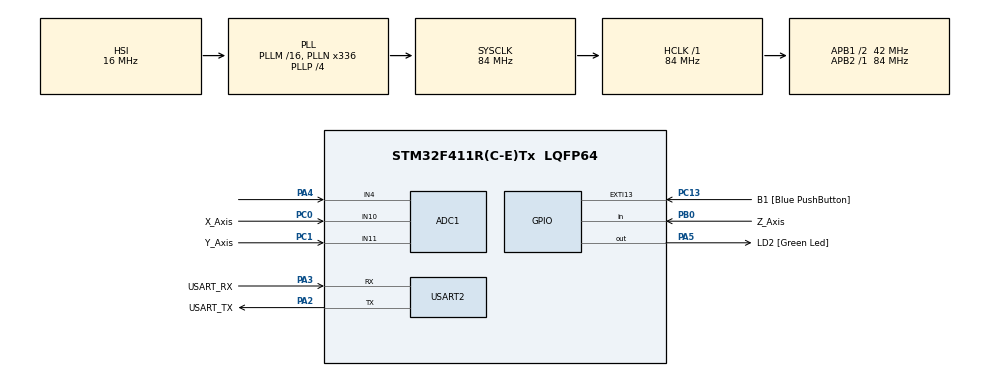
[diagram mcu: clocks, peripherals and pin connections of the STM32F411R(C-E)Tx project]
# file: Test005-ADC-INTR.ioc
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ADC1.Channel-0\#ChannelRegularConversion=ADC_CHANNEL_10
ADC1.Channel-1\#ChannelRegularConversion=ADC_CHANNEL_11
ADC1.Channel-2\#ChannelRegularConversion=ADC_CHANNEL_4
ADC1.DiscontinuousConvMode=ENABLE
ADC1.NbrOfConversion=3
ADC1.NbrOfConversionFlag=1
ADC1.Rank-0\#ChannelRegularConversion=1
ADC1.Rank-1\#ChannelRegularConversion=2
ADC1.Rank-2\#ChannelRegularConversion=3
ADC1.SamplingTime-0\#ChannelRegularConversion=ADC_SAMPLETIME_3CYCLES
ADC1.SamplingTime-1\#ChannelRegularConversion=ADC_SAMPLETIME_3CYCLES
ADC1.SamplingTime-2\#ChannelRegularConversion=ADC_SAMPLETIME_3CYCLES
ADC1.ScanConvMode=ENABLE
ADC1.master=1
Mcu.Family=STM32F4
Mcu.Name=STM32F411R(C-E)Tx
Mcu.Package=LQFP64
NVIC.ADC_IRQn=true\:0\:0\:false\:false\:true\:true\:true\:true
NVIC.PriorityGroup=NVIC_PRIORITYGROUP_0
NVIC.TIM3_IRQn=true\:0\:0\:false\:false\:true\:true\:true\:true
PA13.GPIO_Label=TMS
PA13.Mode=Serial_Wire
PA13.Signal=SYS_JTMS-SWDIO
PA14.GPIO_Label=TCK
PA14.Mode=Serial_Wire
PA14.Signal=SYS_JTCK-SWCLK
PA2.GPIO_Label=USART_TX
PA2.Mode=Asynchronous
PA2.Signal=USART2_TX
PA3.GPIO_Label=USART_RX
PA3.Mode=Asynchronous
PA3.Signal=USART2_RX
PA4.Signal=ADCx_IN4
PA5.GPIO_Label=LD2 [Green Led]
PA5.Signal=GPIO_Output
PB0.GPIO_Label=Z_Axis
PB0.GPIO_PuPd=GPIO_PULLUP
PB0.Signal=GPIO_Input
PB3.GPIO_Label=SWO
PB3.Signal=SYS_JTDO-SWO
PC0.GPIO_Label=X_Axis
PC0.Signal=ADCx_IN10
PC1.GPIO_Label=Y_Axis
PC1.Signal=ADCx_IN11
PC13-ANTI_TAMP.GPIO_Label=B1 [Blue PushButton]
PC13-ANTI_TAMP.GPIO_ModeDefaultEXTI=GPIO_MODE_IT_FALLING
PC13-ANTI_TAMP.Signal=GPXTI13
PC14-OSC32_IN.Mode=LSE-External-Oscillator
PC14-OSC32_IN.Signal=RCC_OSC32_IN
PC15-OSC32_OUT.Mode=LSE-External-Oscillator
PC15-OSC32_OUT.Signal=RCC_OSC32_OUT
PH0\ -\ OSC_IN.Mode=HSE-External-Clock-Source
PH0\ -\ OSC_IN.Signal=RCC_OSC_IN
PH1\ -\ OSC_OUT.Mode=HSE-External-Clock-Source
PH1\ -\ OSC_OUT.Signal=RCC_OSC_OUT
ProjectManager.HeapSize=0x200
ProjectManager.StackSize=0x400
ProjectManager.TargetToolchain=STM32CubeIDE
RCC.48MHZClocksFreq_Value=84000000
RCC.AHBFreq_Value=84000000
RCC.APB1CLKDivider=RCC_HCLK_DIV2
RCC.APB1Freq_Value=42000000
RCC.APB1TimFreq_Value=84000000
RCC.APB2Freq_Value=84000000
RCC.APB2TimFreq_Value=84000000
RCC.CortexFreq_Value=84000000
RCC.FLatency-AdvancedSettings=FLASH_LATENCY_2
RCC.HCLKFreq_Value=84000000
RCC.HSE_VALUE=8000000
RCC.HSI_VALUE=16000000
RCC.PLLN=336
RCC.PLLP=RCC_PLLP_DIV4
RCC.SYSCLKFreq_VALUE=84000000
RCC.SYSCLKSource=RCC_SYSCLKSOURCE_PLLCLK
RCC.VCOOutputFreq_Value=336000000
SH.ADCx_IN10.0=ADC1_IN10,IN10
SH.ADCx_IN11.0=ADC1_IN11,IN11
SH.ADCx_IN4.0=ADC1_IN4,IN4
TIM3.Period=2000-1
TIM3.Prescaler=8400-1
USART2.VirtualMode=VM_ASYNC
VP_TIM3_VS_ClockSourceINT.Mode=Internal
board=NUCLEO-F411RE

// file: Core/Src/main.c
/* USER CODE BEGIN Header */
/**
  ******************************************************************************
  * @file           : main.c
  * @brief          : Main program body
  ******************************************************************************
  * @attention
  *
  * Copyright (c) 2024 STMicroelectronics.
  * All rights reserved.
  *
  * This software is licensed under terms that can be found in the LICENSE file
  * in the root directory of this software component.
  * If no LICENSE file comes with this software, it is provided AS-IS.
  *
  ******************************************************************************
  */
/* USER CODE END Header */
#include "main.h"

ADC_HandleTypeDef hadc1;

TIM_HandleTypeDef htim3;

UART_HandleTypeDef huart2;

void SystemClock_Config(void);
static void MX_GPIO_Init(void);
static void MX_USART2_UART_Init(void);
static void MX_ADC1_Init(void);
static void MX_TIM3_Init(void);

/* USER CODE BEGIN 0 */
int cx=39,cy=12;  // initial position
int v0[3], v1[3], x, y, l, idx = 0;
void HAL_ADC_ConvCpltCallback(ADC_HandleTypeDef *hadc)
{
	//HAL_ADC_Start(&hadc1);
	//HAL_ADC_PollForConversion(&hadc1, 1000); // start Trigger
	v1[idx] = HAL_ADC_GetValue(&hadc1);
	v0[idx] = (v1[idx] / 1400) - 1;
	switch(idx)
	{
	case 0: //x
		x = cx + v0[idx];
		x = (x > 78) ? 78 : (x < 0) ? 0 : x;
		break;
	case 1: //y
		y = cy + v0[idx];
		y = (y > 23) ? 23 : (y < 0) ? 0 : y;
		break;
	}
	//printf("ADC value : %d\r\n", v);
	//HAL_Delay(200);
	if(++idx == 3) idx = 0;
}

void HAL_TIM_PeriodElapsedCallback(TIM_HandleTypeDef *htim)
{
	HAL_ADC_Start_IT(&hadc1);
}

int xa[100],ya[100];
void MakeItem()
{
	int i;
	srand(htim3.Instance->CNT);
	for(i=0;i<100;i++)
	{
		int v1 =  rand();  //0 ~ 2,147,483,647
		int v2 =  rand();
		xa[i] = (((double)v1 / 2147483647.)) * 80;
		ya[i] = (((double)v2 / 2147483647.)) * 24;
		printf("\033[%d;%dHo",ya[i], xa[i]);
	}
	printf("\n");
}

/* USER CODE END 0 */

int main(void)
{

  /* MCU Configuration--------------------------------------------------------*/

  /* Reset of all peripherals, Initializes the Flash interface and the Systick. */
  HAL_Init();

  /* Configure the system clock */
  SystemClock_Config();

  /* Initialize all configured peripherals */
  MX_GPIO_Init();
  MX_USART2_UART_Init();
  MX_ADC1_Init();
  MX_TIM3_Init();
  /* USER CODE BEGIN 2 */
  HAL_TIM_Base_Start_IT(&htim3);
  //HAL_ADC_Start_IT(&hadc1);
  ProgramStart("ADC - Interrupt ");
  printf("\033[2J\033[?25l\n");  // Clear screen & cursor invisible
  MakeItem();
  /* USER CODE END 2 */

  /* Infinite loop */
  /* USER CODE BEGIN WHILE */
  int dx=0,dy=0;
  while (1)
  {
	//printf("Current ADC value (%d, %d) : %d\r\n", x, y, l);
	int z = HAL_GPIO_ReadPin(Z_Axis_GPIO_Port, Z_Axis_Pin);
	x = cx + dx, y = cy + dy;
	printf("\033[0;0HCP(%d,%d,%d),NP(%d,%d),DP(%d,%d)", cx,cy,z,x,y,dx,dy);  // location info
	printf("\033[%d;%dH \033[%d;%dH@\033[A\n", cy, cx, y, x);
	dx = (-1)*((x < cx)?1:(x > cx)?-1:0);
	dy = (-1)*((y < cy)?1:(y > cy)?-1:0);
	cx = x; cy = y;  //save current pos
	HAL_Delay(100);
    /* USER CODE END WHILE */

  }
}

void SystemClock_Config(void)
{
  RCC_OscInitTypeDef RCC_OscInitStruct = {0};
  RCC_ClkInitTypeDef RCC_ClkInitStruct = {0};

  /** Configure the main internal regulator output voltage
  */
  __HAL_RCC_PWR_CLK_ENABLE();
  __HAL_PWR_VOLTAGESCALING_CONFIG(PWR_REGULATOR_VOLTAGE_SCALE1);

  /** Initializes the RCC Oscillators according to the specified parameters
  * in the RCC_OscInitTypeDef structure.
  */
  RCC_OscInitStruct.OscillatorType = RCC_OSCILLATORTYPE_HSI;
  RCC_OscInitStruct.HSIState = RCC_HSI_ON;
  RCC_OscInitStruct.HSICalibrationValue = RCC_HSICALIBRATION_DEFAULT;
  RCC_OscInitStruct.PLL.PLLState = RCC_PLL_ON;
  RCC_OscInitStruct.PLL.PLLSource = RCC_PLLSOURCE_HSI;
  RCC_OscInitStruct.PLL.PLLM = 16;
  RCC_OscInitStruct.PLL.PLLN = 336;
  RCC_OscInitStruct.PLL.PLLP = RCC_PLLP_DIV4;
  RCC_OscInitStruct.PLL.PLLQ = 4;
  if (HAL_RCC_OscConfig(&RCC_OscInitStruct) != HAL_OK)
  {
    Error_Handler();
  }

  /** Initializes the CPU, AHB and APB buses clocks
  */
  RCC_ClkInitStruct.ClockType = RCC_CLOCKTYPE_HCLK|RCC_CLOCKTYPE_SYSCLK
                              |RCC_CLOCKTYPE_PCLK1|RCC_CLOCKTYPE_PCLK2;
  RCC_ClkInitStruct.SYSCLKSource = RCC_SYSCLKSOURCE_PLLCLK;
  RCC_ClkInitStruct.AHBCLKDivider = RCC_SYSCLK_DIV1;
  RCC_ClkInitStruct.APB1CLKDivider = RCC_HCLK_DIV2;
  RCC_ClkInitStruct.APB2CLKDivider = RCC_HCLK_DIV1;

  if (HAL_RCC_ClockConfig(&RCC_ClkInitStruct, FLASH_LATENCY_2) != HAL_OK)
  {
    Error_Handler();
  }
}

static void MX_ADC1_Init(void)
{

  ADC_ChannelConfTypeDef sConfig = {0};

  /** Configure the global features of the ADC (Clock, Resolution, Data Alignment and number of conversion)
  */
  hadc1.Instance = ADC1;
  hadc1.Init.ClockPrescaler = ADC_CLOCK_SYNC_PCLK_DIV4;
  hadc1.Init.Resolution = ADC_RESOLUTION_12B;
  hadc1.Init.ScanConvMode = ENABLE;
  hadc1.Init.ContinuousConvMode = DISABLE;
  hadc1.Init.DiscontinuousConvMode = ENABLE;
  hadc1.Init.NbrOfDiscConversion = 1;
  hadc1.Init.ExternalTrigConvEdge = ADC_EXTERNALTRIGCONVEDGE_NONE;
  hadc1.Init.ExternalTrigConv = ADC_SOFTWARE_START;
  hadc1.Init.DataAlign = ADC_DATAALIGN_RIGHT;
  hadc1.Init.NbrOfConversion = 3;
  hadc1.Init.DMAContinuousRequests = DISABLE;
  hadc1.Init.EOCSelection = ADC_EOC_SINGLE_CONV;
  if (HAL_ADC_Init(&hadc1) != HAL_OK)
  {
    Error_Handler();
  }

  /** Configure for the selected ADC regular channel its corresponding rank in the sequencer and its sample time.
  */
  sConfig.Channel = ADC_CHANNEL_10;
  sConfig.Rank = 1;
  sConfig.SamplingTime = ADC_SAMPLETIME_3CYCLES;
  if (HAL_ADC_ConfigChannel(&hadc1, &sConfig) != HAL_OK)
  {
    Error_Handler();
  }

  /** Configure for the selected ADC regular channel its corresponding rank in the sequencer and its sample time.
  */
  sConfig.Channel = ADC_CHANNEL_11;
  sConfig.Rank = 2;
  if (HAL_ADC_ConfigChannel(&hadc1, &sConfig) != HAL_OK)
  {
    Error_Handler();
  }

  /** Configure for the selected ADC regular channel its corresponding rank in the sequencer and its sample time.
  */
  sConfig.Channel = ADC_CHANNEL_4;
  sConfig.Rank = 3;
  if (HAL_ADC_ConfigChannel(&hadc1, &sConfig) != HAL_OK)
  {
    Error_Handler();
  }

}

static void MX_TIM3_Init(void)
{

  TIM_ClockConfigTypeDef sClockSourceConfig = {0};
  TIM_MasterConfigTypeDef sMasterConfig = {0};

  htim3.Instance = TIM3;
  htim3.Init.Prescaler = 8400-1;
  htim3.Init.CounterMode = TIM_COUNTERMODE_UP;
  htim3.Init.Period = 2000-1;
  htim3.Init.ClockDivision = TIM_CLOCKDIVISION_DIV1;
  htim3.Init.AutoReloadPreload = TIM_AUTORELOAD_PRELOAD_DISABLE;
  if (HAL_TIM_Base_Init(&htim3) != HAL_OK)
  {
    Error_Handler();
  }
  sClockSourceConfig.ClockSource = TIM_CLOCKSOURCE_INTERNAL;
  if (HAL_TIM_ConfigClockSource(&htim3, &sClockSourceConfig) != HAL_OK)
  {
    Error_Handler();
  }
  sMasterConfig.MasterOutputTrigger = TIM_TRGO_RESET;
  sMasterConfig.MasterSlaveMode = TIM_MASTERSLAVEMODE_DISABLE;
  if (HAL_TIMEx_MasterConfigSynchronization(&htim3, &sMasterConfig) != HAL_OK)
  {
    Error_Handler();
  }

}

static void MX_USART2_UART_Init(void)
{

  huart2.Instance = USART2;
  huart2.Init.BaudRate = 115200;
  huart2.Init.WordLength = UART_WORDLENGTH_8B;
  huart2.Init.StopBits = UART_STOPBITS_1;
  huart2.Init.Parity = UART_PARITY_NONE;
  huart2.Init.Mode = UART_MODE_TX_RX;
  huart2.Init.HwFlowCtl = UART_HWCONTROL_NONE;
  huart2.Init.OverSampling = UART_OVERSAMPLING_16;
  if (HAL_UART_Init(&huart2) != HAL_OK)
  {
    Error_Handler();
  }

}

static void MX_GPIO_Init(void)
{
  GPIO_InitTypeDef GPIO_InitStruct = {0};

  /* GPIO Ports Clock Enable */
  __HAL_RCC_GPIOC_CLK_ENABLE();
  __HAL_RCC_GPIOH_CLK_ENABLE();
  __HAL_RCC_GPIOA_CLK_ENABLE();
  __HAL_RCC_GPIOB_CLK_ENABLE();

  /*Configure GPIO pin Output Level */
  HAL_GPIO_WritePin(LD2_GPIO_Port, LD2_Pin, GPIO_PIN_RESET);

  /*Configure GPIO pin : B1_Pin */
  GPIO_InitStruct.Pin = B1_Pin;
  GPIO_InitStruct.Mode = GPIO_MODE_IT_FALLING;
  GPIO_InitStruct.Pull = GPIO_NOPULL;
  HAL_GPIO_Init(B1_GPIO_Port, &GPIO_InitStruct);

  /*Configure GPIO pin : LD2_Pin */
  GPIO_InitStruct.Pin = LD2_Pin;
  GPIO_InitStruct.Mode = GPIO_MODE_OUTPUT_PP;
  GPIO_InitStruct.Pull = GPIO_NOPULL;
  GPIO_InitStruct.Speed = GPIO_SPEED_FREQ_LOW;
  HAL_GPIO_Init(LD2_GPIO_Port, &GPIO_InitStruct);

  /*Configure GPIO pin : Z_Axis_Pin */
  GPIO_InitStruct.Pin = Z_Axis_Pin;
  GPIO_InitStruct.Mode = GPIO_MODE_INPUT;
  GPIO_InitStruct.Pull = GPIO_PULLUP;
  HAL_GPIO_Init(Z_Axis_GPIO_Port, &GPIO_InitStruct);

}

void Error_Handler(void)
{
  __disable_irq();
  while (1)
  {
  }
}
